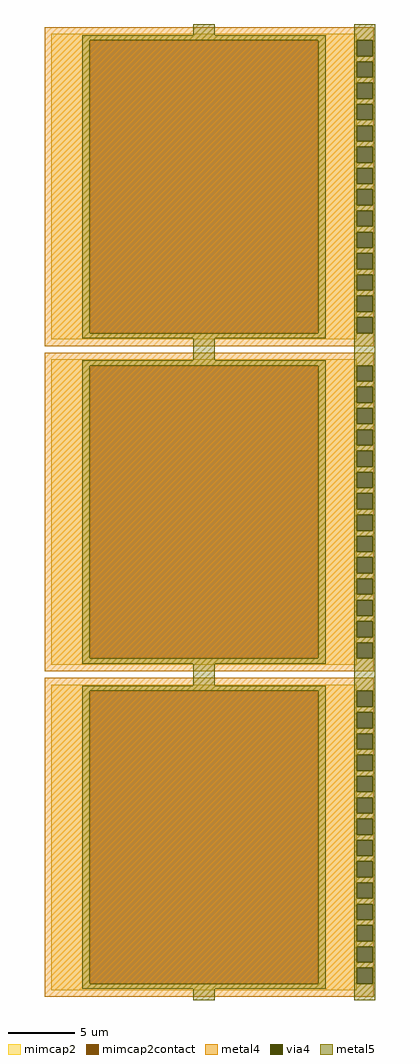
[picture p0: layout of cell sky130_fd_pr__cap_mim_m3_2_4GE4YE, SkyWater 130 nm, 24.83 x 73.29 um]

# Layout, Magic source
magic
tech sky130A
magscale 1 2
<< metal4 >>
rect -2472 7084 2472 7279
rect -2472 6848 2216 7084
rect 2452 6848 2472 7084
rect -2472 6764 2472 6848
rect -2472 6528 2216 6764
rect 2452 6528 2472 6764
rect -2472 6444 2472 6528
rect -2472 6208 2216 6444
rect 2452 6208 2472 6444
rect -2472 6124 2472 6208
rect -2472 5888 2216 6124
rect 2452 5888 2472 6124
rect -2472 5804 2472 5888
rect -2472 5568 2216 5804
rect 2452 5568 2472 5804
rect -2472 5484 2472 5568
rect -2472 5248 2216 5484
rect 2452 5248 2472 5484
rect -2472 5164 2472 5248
rect -2472 4928 2216 5164
rect 2452 4928 2472 5164
rect -2472 4844 2472 4928
rect -2472 4608 2216 4844
rect 2452 4608 2472 4844
rect -2472 4524 2472 4608
rect -2472 4288 2216 4524
rect 2452 4288 2472 4524
rect -2472 4204 2472 4288
rect -2472 3968 2216 4204
rect 2452 3968 2472 4204
rect -2472 3884 2472 3968
rect -2472 3648 2216 3884
rect 2452 3648 2472 3884
rect -2472 3564 2472 3648
rect -2472 3328 2216 3564
rect 2452 3328 2472 3564
rect -2472 3244 2472 3328
rect -2472 3008 2216 3244
rect 2452 3008 2472 3244
rect -2472 2924 2472 3008
rect -2472 2688 2216 2924
rect 2452 2688 2472 2924
rect -2472 2493 2472 2688
rect -2472 2198 2472 2393
rect -2472 1962 2216 2198
rect 2452 1962 2472 2198
rect -2472 1878 2472 1962
rect -2472 1642 2216 1878
rect 2452 1642 2472 1878
rect -2472 1558 2472 1642
rect -2472 1322 2216 1558
rect 2452 1322 2472 1558
rect -2472 1238 2472 1322
rect -2472 1002 2216 1238
rect 2452 1002 2472 1238
rect -2472 918 2472 1002
rect -2472 682 2216 918
rect 2452 682 2472 918
rect -2472 598 2472 682
rect -2472 362 2216 598
rect 2452 362 2472 598
rect -2472 278 2472 362
rect -2472 42 2216 278
rect 2452 42 2472 278
rect -2472 -42 2472 42
rect -2472 -278 2216 -42
rect 2452 -278 2472 -42
rect -2472 -362 2472 -278
rect -2472 -598 2216 -362
rect 2452 -598 2472 -362
rect -2472 -682 2472 -598
rect -2472 -918 2216 -682
rect 2452 -918 2472 -682
rect -2472 -1002 2472 -918
rect -2472 -1238 2216 -1002
rect 2452 -1238 2472 -1002
rect -2472 -1322 2472 -1238
rect -2472 -1558 2216 -1322
rect 2452 -1558 2472 -1322
rect -2472 -1642 2472 -1558
rect -2472 -1878 2216 -1642
rect 2452 -1878 2472 -1642
rect -2472 -1962 2472 -1878
rect -2472 -2198 2216 -1962
rect 2452 -2198 2472 -1962
rect -2472 -2393 2472 -2198
rect -2472 -2688 2472 -2493
rect -2472 -2924 2216 -2688
rect 2452 -2924 2472 -2688
rect -2472 -3008 2472 -2924
rect -2472 -3244 2216 -3008
rect 2452 -3244 2472 -3008
rect -2472 -3328 2472 -3244
rect -2472 -3564 2216 -3328
rect 2452 -3564 2472 -3328
rect -2472 -3648 2472 -3564
rect -2472 -3884 2216 -3648
rect 2452 -3884 2472 -3648
rect -2472 -3968 2472 -3884
rect -2472 -4204 2216 -3968
rect 2452 -4204 2472 -3968
rect -2472 -4288 2472 -4204
rect -2472 -4524 2216 -4288
rect 2452 -4524 2472 -4288
rect -2472 -4608 2472 -4524
rect -2472 -4844 2216 -4608
rect 2452 -4844 2472 -4608
rect -2472 -4928 2472 -4844
rect -2472 -5164 2216 -4928
rect 2452 -5164 2472 -4928
rect -2472 -5248 2472 -5164
rect -2472 -5484 2216 -5248
rect 2452 -5484 2472 -5248
rect -2472 -5568 2472 -5484
rect -2472 -5804 2216 -5568
rect 2452 -5804 2472 -5568
rect -2472 -5888 2472 -5804
rect -2472 -6124 2216 -5888
rect 2452 -6124 2472 -5888
rect -2472 -6208 2472 -6124
rect -2472 -6444 2216 -6208
rect 2452 -6444 2472 -6208
rect -2472 -6528 2472 -6444
rect -2472 -6764 2216 -6528
rect 2452 -6764 2472 -6528
rect -2472 -6848 2472 -6764
rect -2472 -7084 2216 -6848
rect 2452 -7084 2472 -6848
rect -2472 -7279 2472 -7084
<< via4 >>
rect 2216 6848 2452 7084
rect 2216 6528 2452 6764
rect 2216 6208 2452 6444
rect 2216 5888 2452 6124
rect 2216 5568 2452 5804
rect 2216 5248 2452 5484
rect 2216 4928 2452 5164
rect 2216 4608 2452 4844
rect 2216 4288 2452 4524
rect 2216 3968 2452 4204
rect 2216 3648 2452 3884
rect 2216 3328 2452 3564
rect 2216 3008 2452 3244
rect 2216 2688 2452 2924
rect 2216 1962 2452 2198
rect 2216 1642 2452 1878
rect 2216 1322 2452 1558
rect 2216 1002 2452 1238
rect 2216 682 2452 918
rect 2216 362 2452 598
rect 2216 42 2452 278
rect 2216 -278 2452 -42
rect 2216 -598 2452 -362
rect 2216 -918 2452 -682
rect 2216 -1238 2452 -1002
rect 2216 -1558 2452 -1322
rect 2216 -1878 2452 -1642
rect 2216 -2198 2452 -1962
rect 2216 -2924 2452 -2688
rect 2216 -3244 2452 -3008
rect 2216 -3564 2452 -3328
rect 2216 -3884 2452 -3648
rect 2216 -4204 2452 -3968
rect 2216 -4524 2452 -4288
rect 2216 -4844 2452 -4608
rect 2216 -5164 2452 -4928
rect 2216 -5484 2452 -5248
rect 2216 -5804 2452 -5568
rect 2216 -6124 2452 -5888
rect 2216 -6444 2452 -6208
rect 2216 -6764 2452 -6528
rect 2216 -7084 2452 -6848
<< mimcap2 >>
rect -2372 7084 2214 7179
rect -2372 2688 -1797 7084
rect 1639 2688 2214 7084
rect -2372 2593 2214 2688
rect -2372 2198 2214 2293
rect -2372 -2198 -1797 2198
rect 1639 -2198 2214 2198
rect -2372 -2293 2214 -2198
rect -2372 -2688 2214 -2593
rect -2372 -7084 -1797 -2688
rect 1639 -7084 2214 -2688
rect -2372 -7179 2214 -7084
<< mimcap2contact >>
rect -1797 2688 1639 7084
rect -1797 -2198 1639 2198
rect -1797 -7084 1639 -2688
<< metal5 >>
rect -239 7163 81 7329
rect -1905 7084 1747 7163
rect -1905 2688 -1797 7084
rect 1639 2688 1747 7084
rect -1905 2609 1747 2688
rect 2174 7084 2494 7329
rect 2174 6848 2216 7084
rect 2452 6848 2494 7084
rect 2174 6764 2494 6848
rect 2174 6528 2216 6764
rect 2452 6528 2494 6764
rect 2174 6444 2494 6528
rect 2174 6208 2216 6444
rect 2452 6208 2494 6444
rect 2174 6124 2494 6208
rect 2174 5888 2216 6124
rect 2452 5888 2494 6124
rect 2174 5804 2494 5888
rect 2174 5568 2216 5804
rect 2452 5568 2494 5804
rect 2174 5484 2494 5568
rect 2174 5248 2216 5484
rect 2452 5248 2494 5484
rect 2174 5164 2494 5248
rect 2174 4928 2216 5164
rect 2452 4928 2494 5164
rect 2174 4844 2494 4928
rect 2174 4608 2216 4844
rect 2452 4608 2494 4844
rect 2174 4524 2494 4608
rect 2174 4288 2216 4524
rect 2452 4288 2494 4524
rect 2174 4204 2494 4288
rect 2174 3968 2216 4204
rect 2452 3968 2494 4204
rect 2174 3884 2494 3968
rect 2174 3648 2216 3884
rect 2452 3648 2494 3884
rect 2174 3564 2494 3648
rect 2174 3328 2216 3564
rect 2452 3328 2494 3564
rect 2174 3244 2494 3328
rect 2174 3008 2216 3244
rect 2452 3008 2494 3244
rect 2174 2924 2494 3008
rect 2174 2688 2216 2924
rect 2452 2688 2494 2924
rect -239 2277 81 2609
rect -1905 2198 1747 2277
rect -1905 -2198 -1797 2198
rect 1639 -2198 1747 2198
rect -1905 -2277 1747 -2198
rect 2174 2198 2494 2688
rect 2174 1962 2216 2198
rect 2452 1962 2494 2198
rect 2174 1878 2494 1962
rect 2174 1642 2216 1878
rect 2452 1642 2494 1878
rect 2174 1558 2494 1642
rect 2174 1322 2216 1558
rect 2452 1322 2494 1558
rect 2174 1238 2494 1322
rect 2174 1002 2216 1238
rect 2452 1002 2494 1238
rect 2174 918 2494 1002
rect 2174 682 2216 918
rect 2452 682 2494 918
rect 2174 598 2494 682
rect 2174 362 2216 598
rect 2452 362 2494 598
rect 2174 278 2494 362
rect 2174 42 2216 278
rect 2452 42 2494 278
rect 2174 -42 2494 42
rect 2174 -278 2216 -42
rect 2452 -278 2494 -42
rect 2174 -362 2494 -278
rect 2174 -598 2216 -362
rect 2452 -598 2494 -362
rect 2174 -682 2494 -598
rect 2174 -918 2216 -682
rect 2452 -918 2494 -682
rect 2174 -1002 2494 -918
rect 2174 -1238 2216 -1002
rect 2452 -1238 2494 -1002
rect 2174 -1322 2494 -1238
rect 2174 -1558 2216 -1322
rect 2452 -1558 2494 -1322
rect 2174 -1642 2494 -1558
rect 2174 -1878 2216 -1642
rect 2452 -1878 2494 -1642
rect 2174 -1962 2494 -1878
rect 2174 -2198 2216 -1962
rect 2452 -2198 2494 -1962
rect -239 -2609 81 -2277
rect -1905 -2688 1747 -2609
rect -1905 -7084 -1797 -2688
rect 1639 -7084 1747 -2688
rect -1905 -7163 1747 -7084
rect 2174 -2688 2494 -2198
rect 2174 -2924 2216 -2688
rect 2452 -2924 2494 -2688
rect 2174 -3008 2494 -2924
rect 2174 -3244 2216 -3008
rect 2452 -3244 2494 -3008
rect 2174 -3328 2494 -3244
rect 2174 -3564 2216 -3328
rect 2452 -3564 2494 -3328
rect 2174 -3648 2494 -3564
rect 2174 -3884 2216 -3648
rect 2452 -3884 2494 -3648
rect 2174 -3968 2494 -3884
rect 2174 -4204 2216 -3968
rect 2452 -4204 2494 -3968
rect 2174 -4288 2494 -4204
rect 2174 -4524 2216 -4288
rect 2452 -4524 2494 -4288
rect 2174 -4608 2494 -4524
rect 2174 -4844 2216 -4608
rect 2452 -4844 2494 -4608
rect 2174 -4928 2494 -4844
rect 2174 -5164 2216 -4928
rect 2452 -5164 2494 -4928
rect 2174 -5248 2494 -5164
rect 2174 -5484 2216 -5248
rect 2452 -5484 2494 -5248
rect 2174 -5568 2494 -5484
rect 2174 -5804 2216 -5568
rect 2452 -5804 2494 -5568
rect 2174 -5888 2494 -5804
rect 2174 -6124 2216 -5888
rect 2452 -6124 2494 -5888
rect 2174 -6208 2494 -6124
rect 2174 -6444 2216 -6208
rect 2452 -6444 2494 -6208
rect 2174 -6528 2494 -6444
rect 2174 -6764 2216 -6528
rect 2452 -6764 2494 -6528
rect 2174 -6848 2494 -6764
rect 2174 -7084 2216 -6848
rect 2452 -7084 2494 -6848
rect -239 -7329 81 -7163
rect 2174 -7329 2494 -7084
<< properties >>
string FIXED_BBOX -2472 2493 2314 7279
<< end >>
